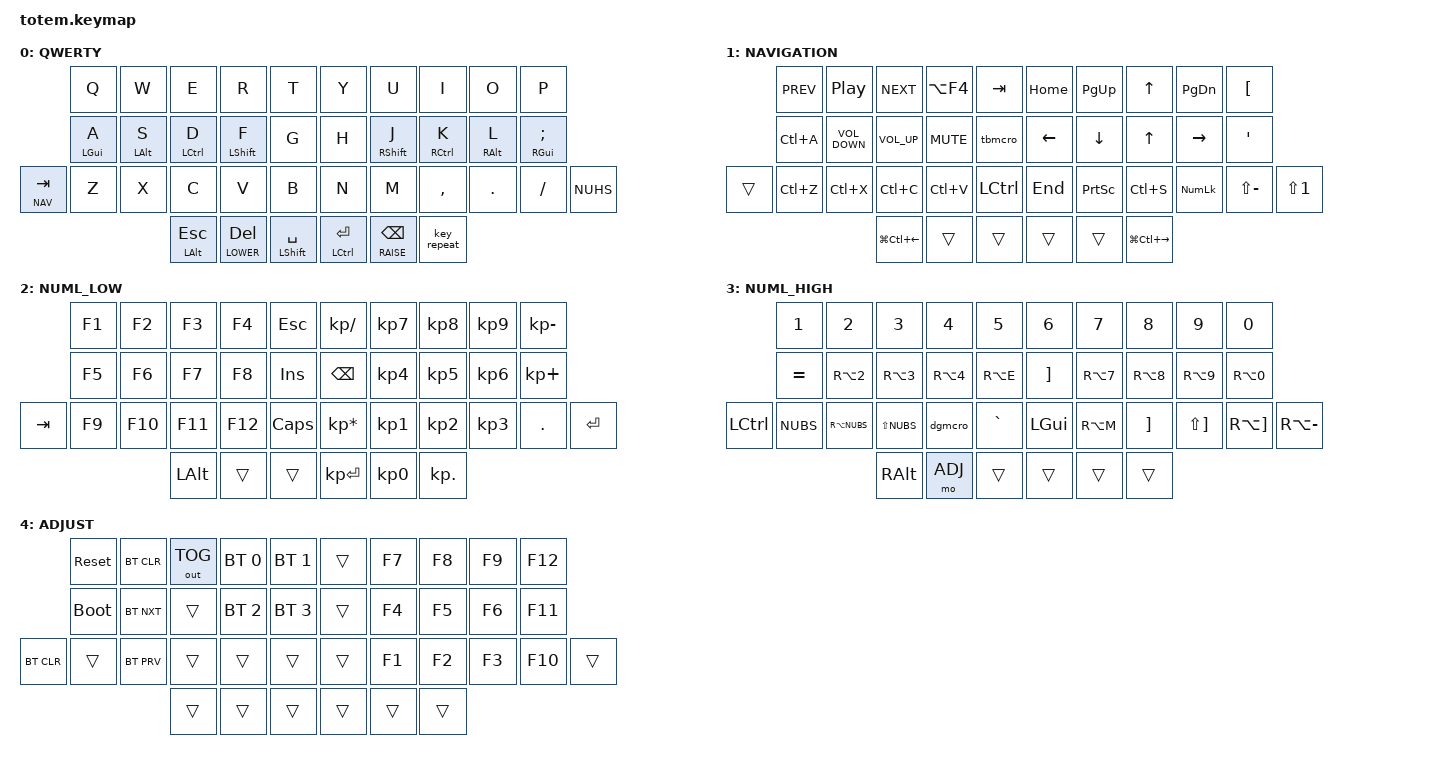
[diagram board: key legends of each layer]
//
//                                                        ▀▀▀▀▀     ▀▀▀▀▀          ▀▀█▀▀
//                                                        ▄▀▀▀▄  ▄  ▄▀▀▀▄  ▄  ▄▀▀▀▄  █  ▄▀▀▀▄
//                                                        █   █  █  █   █  █  █   █  █  █   █
//                                                         ▀▀▀   █   ▀▀▀   █   ▀▀▀   ▀   ▀▀▀
//                                                               █      ▄▄▄█▄▄▄    █   █  
//                                                               ▀      █  █  █     █▄█
//                                                             ▀▀▀▀▀    █  █  █      ▀
//                                                                      ▀  ▀  ▀
//
// ▄▄▄▄▄▄▄▄▄▄▄▄▄▄▄▄▄▄▄▄▄▄▄▄▄▄▄▄▄▄▄▄▄▄▄▄▄▄▄▄▄▄▄▄▄▄▄▄▄▄▄▄▄▄▄▄▄▄▄▄▄▄▄▄▄▄▄▄▄▄▄▄▄▄▄▄▄▄▄▄▄▄▄▄▄▄▄▄▄▄▄▄▄▄▄▄▄▄▄▄▄▄▄▄▄▄▄▄▄▄▄▄▄▄▄▄▄▄▄▄▄▄▄▄▄▄▄▄▄▄▄▄▄▄▄▄▄▄▄▄▄▄▄▄▄▄▄▄▄
       

#include <behaviors.dtsi>
#include <dt-bindings/zmk/keys.h>
#include <dt-bindings/zmk/bt.h>
#include <dt-bindings/zmk/outputs.h>

#define BASE  0     
#define NAV   1    
#define LOWER 2    
#define RAISE 3    
#define ADJ   4    

&mt {
  quick-tap-ms = <150>;
  global-quick-tap;
  flavor = "tap-preferred";
  tapping-term-ms = <200>;
  require-prior-idle-ms = <200>;
};

&lt {
  quick-tap-ms = <150>;
  global-quick-tap;
  flavor = "tap-preferred";
  tapping-term-ms = <200>;
};

/ {
    combos {
            compatible = "zmk,combos";
            combo_capsw {
                timeout-ms = <50>;
                key-positions = <20 31>;
                bindings = <&caps_word>;
            };
    };

    macros {
        gif: gif {
            label = "giphy";
            compatible = "zmk,behavior-macro";
            #binding-cells = <0>;
            bindings
                = <&macro_press &kp LSHFT>
                , <&macro_tap &kp N2>
                , <&macro_release &kp LSHFT>
                , <&macro_tap &kp G &kp I &kp F>
                ;
        };

        tbmcro: tbmcro {
            compatible = "zmk,behavior-macro";
            #binding-cells = <0>;
            bindings = <&kp TAB &kp LS(HOME) &kp DEL>;
            label = "TBMCRO";
        };

        dgmcro: dgmcro {
            compatible = "zmk,behavior-macro";
            #binding-cells = <0>;
            bindings = <&kt LALT &kp KP_N0 &kp KP_N1 &kp KP_N7 &kp KP_N6 &kt LALT>;
            label = "DGMCRO";
        };
    };

        keymap {
                compatible = "zmk,keymap";
// ▄▄▄▄▄▄▄▄▄▄▄▄▄▄▄▄▄▄▄▄▄▄▄▄▄▄▄▄▄▄▄▄▄▄▄▄▄▄▄▄▄▄▄▄▄▄▄▄▄▄▄▄▄▄▄▄▄▄▄▄▄▄▄▄▄▄▄▄▄▄▄▄▄▄▄▄▄▄▄▄▄▄▄▄▄▄▄▄▄▄▄▄▄▄▄▄▄▄▄▄▄▄▄▄▄▄▄▄▄▄▄▄▄▄▄▄▄▄▄▄▄▄▄▄▄▄▄▄▄▄▄▄▄▄▄▄▄▄▄▄▄▄▄▄▄▄▄▄▄

                base_layer {
// ┏━━━━━━━━━━━━━━━━━━━━━━━━━━━━━━━━━━━━━━━┓
            display-name = "QWERTY";
// ┗━━━━━━━━━━━━━━━━━━━━━━━━━━━━━━━━━━━━━━━┛
 /*
   ┌─────────────────────────────────────────────────┐
   │ q w e r t y                                     │      ╭╮╭╮╭╮╭╮
   └─────────────────────────────────────────────────┘      │╰╯╰╯╰╯│
             ┌─────────┬─────────┬─────────┬─────────┬──────╨──┐┌──╨──────┬─────────┬─────────┬─────────┬─────────┐
     ╌┄┈┈───═╡    Q    │    W    │    E    │    R    │    T    ││    Y    │    U    │    I    │    O    │    P    │   
             ├─────────┼─────────┼─────────┼─────────┼─────────┤├─────────┼─────────┼─────────┼─────────┼─────────┤ 
             │    A    │    S    │    D    │    F    │    G    ││    H    │    J    │    K    │    L    │    ;    │    
   ┌─────────┼─────────┼─────────┼─────────┼─────────┼─────────┤├─────────┼─────────┼─────────┼─────────┼─────────┼─────────┐
   │  _FNL1  │    Z    │    X    │    C    │    V    │    B    ││    N    │    M    │    ,    │    .    │    /    │    *    │
   └─────────┴─────────┴─────────┼─────────┼─────────┼─────────┤├─────────┼─────────┼─────────┼─────────┴─────────┴─────────┘
                                 │ESC/L_ALT│LOWER/DEL│ SPC/SFT ││ ENT/CTL │BSP/RAISE│   RPT   │  
                                 └─────────┴─────────┴─────────┘└─────────┴─────────┴─────────┘*/ 
 bindings = <
// ╷           ╷           ╷           ╷           ╷           ╷           ╷   ╷           ╷           ╷           ╷           ╷           ╷           ╷

                &kp Q       &kp W       &kp E       &kp R       &kp T           &kp Y       &kp U       &kp I       &kp O       &kp P
                &mt LGUI A  &mt LALT S  &mt LCTRL D &mt LSHFT F &kp G           &kp H       &mt RSHFT J &mt RCTRL K &mt RALT L  &mt RGUI SEMI
    &lt NAV TAB    &kp Z       &kp X       &kp C       &kp V       &kp B           &kp N       &kp M       &kp COMMA   &kp DOT     &kp FSLH    &kp NUHS
                                      &mt LALT ESC &lt LOWER DELETE &mt LSHFT SPACE &mt LCTRL ENTER &lt RAISE BSPC &key_repeat 
                        >;
                };
// ▄▄▄▄▄▄▄▄▄▄▄▄▄▄▄▄▄▄▄▄▄▄▄▄▄▄▄▄▄▄▄▄▄▄▄▄▄▄▄▄▄▄▄▄▄▄▄▄▄▄▄▄▄▄▄▄▄▄▄▄▄▄▄▄▄▄▄▄▄▄▄▄▄▄▄▄▄▄▄▄▄▄▄▄▄▄▄▄▄▄▄▄▄▄▄▄▄▄▄▄▄▄▄▄▄▄▄▄▄▄▄▄▄▄▄▄▄▄▄▄▄▄▄▄▄▄▄▄▄▄▄▄▄▄▄▄▄▄▄▄▄▄▄▄▄▄▄▄▄


                nav_layer {
// ┏━━━━━━━━━━━━━━━━━━━━━━━━━━━━━━━━━━━━━━━┓
            display-name = "NAVIGATION";
// ┗━━━━━━━━━━━━━━━━━━━━━━━━━━━━━━━━━━━━━━━┛
/*
   ┌─────────────────────────────────────────────────┐
   │ f u n c / n a v                                 │      ╭╮╭╮╭╮╭╮
   └─────────────────────────────────────────────────┘      │╰╯╰╯╰╯│
             ┌─────────┬─────────┬─────────┬─────────┬──────╨──┐┌──╨──────┬─────────┬─────────┬─────────┬─────────┐
     ╌┄┈┈───═╡  PREV   │  PLAY   │  NEXT   │  AltF4  │   TAB   ││   ESC   │   PG↑   │    ↑    │   PG↓   │    Å    │   
             ├─────────┼─────────┼─────────┼─────────┼─────────┤├─────────┼─────────┼─────────┼─────────┼─────────┤
             │  SHIFT  │  VolU   │  VolD   │  Mute   │ TABMCRO ││  HOME   │    ←    │    ↓    │    →    │    Ä    │    
   ┌─────────┼─────────┼─────────┼─────────┼─────────┼─────────┤├─────────┼─────────┼─────────┼─────────┼─────────┼─────────┐
   │         │  UNDO   │   CUT   │  COPY   │  PASTE  │  LGUI   ││   END   │ SCRNSHT │  SAVE   │  NUML   │    ?    │    !    │ 
   └─────────┴─────────┴─────────┼─────────┼─────────┼─────────┤├─────────┼─────────┼─────────┼─────────┴─────────┴─────────┘
                                 │         │  LCTRL  │         ││         │  LALT   │  BSPC   │
                                 └─────────┴─────────┴─────────┘└─────────┴─────────┴─────────┘ */
 bindings = <
// ╷           ╷           ╷           ╷           ╷           ╷           ╷   ╷           ╷           ╷           ╷           ╷           ╷           ╷

        &kp C_PREV  &kp C_PLAY_PAUSE   &kp C_NEXT        &kp LA(F4)  &kp TAB      &kp HOME  &kp PG_UP        &kp UP             &kp PG_DN  &kp LBKT
        &kp LC(A)   &kp C_VOLUME_DOWN  &kp C_VOL_UP      &kp C_MUTE  &tbmcro      &kp LEFT  &kp DOWN   &kp UP           &kp RIGHT  &kp SINGLE_QUOTE
&trans  &kp LC(Z)   &kp LC(X)          &kp LC(C)         &kp LC(V)   &kp LCTRL    &kp END       &kp PRINTSCREEN  &kp LC(S)          &kp KP_NUMLOCK &kp LS(MINUS) &kp LS(N1)
                                       &kp LG(LC(LEFT))  &trans      &trans       &trans        &trans           &kp LG(LC(RIGHT))
                        >;
                };

// ▄▄▄▄▄▄▄▄▄▄▄▄▄▄▄▄▄▄▄▄▄▄▄▄▄▄▄▄▄▄▄▄▄▄▄▄▄▄▄▄▄▄▄▄▄▄▄▄▄▄▄▄▄▄▄▄▄▄▄▄▄▄▄▄▄▄▄▄▄▄▄▄▄▄▄▄▄▄▄▄▄▄▄▄▄▄▄▄▄▄▄▄▄▄▄▄▄▄▄▄▄▄▄▄▄▄▄▄▄▄▄▄▄▄▄▄▄▄▄▄▄▄▄▄▄▄▄▄▄▄▄▄▄▄▄▄▄▄▄▄▄▄▄▄▄▄▄▄▄


                lower_layer {
// ┏━━━━━━━━━━━━━━━━━━━━━━━━━━━━━━━━━━━━━━━┓
            display-name = "NUML_LOW";
// ┗━━━━━━━━━━━━━━━━━━━━━━━━━━━━━━━━━━━━━━━┛
/*  
   ┌─────────────────────────────────────────────────┐
   │ l o w e r                                       │      ╭╮╭╮╭╮╭╮
   └─────────────────────────────────────────────────┘      │╰╯╰╯╰╯│
             ┌─────────┬─────────┬─────────┬─────────┬──────╨──┐┌──╨──────┬─────────┬─────────┬─────────┬─────────┐
     ╌┄┈┈───═╡   F1    │   F2    │   F3    │   F4    │   ESC   ││    /    │    7    │    8    │    9    │    -    │   
             ├─────────┼─────────┼─────────┼─────────┼─────────┤├─────────┼─────────┼─────────┼─────────┼─────────┤
             │   F5    │   F6    │   F7    │   F8    │   INS   ││  BSPC   │    4    │    5    │    6    │    +    │    
   ┌─────────┼─────────┼─────────┼─────────┼─────────┼─────────┤├─────────┼─────────┼─────────┼─────────┼─────────┼─────────┐
   │   TAB   │   F9    │   F10   │   F11   │   F12   │  CapsL  ││    *    │    1    │    2    │    3    │    .    │  ENTER  │
   └─────────┴─────────┴─────────┼─────────┼─────────┼─────────┤├─────────┼─────────┼─────────┼─────────┴─────────┴─────────┘
                                 │   LALT  │    ▼    │    ▼    ││  ENTER  │    0    │    ,    │  
                                 └─────────┴─────────┴─────────┘└─────────┴─────────┴─────────┘ */ 
 bindings = <
// ╷           ╷           ╷           ╷           ╷           ╷           ╷   ╷           ╷           ╷           ╷           ╷           ╷           ╷

        &kp F1     &kp F2      &kp F3    &kp F4     &kp ESC    &kp KP_SLASH &kp KP_N7  &kp KP_N8  &kp KP_N9  &kp KP_MINUS
        &kp F5     &kp F6      &kp F7    &kp F8     &kp INS    &kp BSPC  &kp KP_N4  &kp KP_N5  &kp KP_N6  &kp KP_PLUS
&kp TAB &kp F9     &kp F10     &kp F11   &kp F12    &kp CAPS   &kp KP_MULTIPLY  &kp KP_N1  &kp KP_N2  &kp KP_N3  &kp DOT  &kp ENTER
                               &kp LALT    &trans     &trans      &kp KP_ENTER  &kp KP_N0  &kp KP_DOT   
                        >;
                };

// ▄▄▄▄▄▄▄▄▄▄▄▄▄▄▄▄▄▄▄▄▄▄▄▄▄▄▄▄▄▄▄▄▄▄▄▄▄▄▄▄▄▄▄▄▄▄▄▄▄▄▄▄▄▄▄▄▄▄▄▄▄▄▄▄▄▄▄▄▄▄▄▄▄▄▄▄▄▄▄▄▄▄▄▄▄▄▄▄▄▄▄▄▄▄▄▄▄▄▄▄▄▄▄▄▄▄▄▄▄▄▄▄▄▄▄▄▄▄▄▄▄▄▄▄▄▄▄▄▄▄▄▄▄▄▄▄▄▄▄▄▄▄▄▄▄▄▄▄▄

                raise_layer {
// ┏━━━━━━━━━━━━━━━━━━━━━━━━━━━━━━━━━━━━━━━┓
            display-name = "NUML_HIGH";
// ┗━━━━━━━━━━━━━━━━━━━━━━━━━━━━━━━━━━━━━━━┛
/*   
   ┌─────────────────────────────────────────────────┐
   │ r a i s e                                       │      ╭╮╭╮╭╮╭╮
   └─────────────────────────────────────────────────┘      │╰╯╰╯╰╯│
             ┌─────────┬─────────┬─────────┬─────────┬──────╨──┐┌──╨──────┬─────────┬─────────┬─────────┬─────────┐
     ╌┄┈┈───═╡    1    │    2    │    3    │    4    │    5    ││    6    │    7    │    8    │    9    │    0    │   
             ├─────────┼─────────┼─────────┼─────────┼─────────┤├─────────┼─────────┼─────────┼─────────┼─────────┤
             │    ´    │    @    │    £    │    $    │    €    ││    ¨    │    {    │    [    │    ]    │    }    │
   ┌─────────┼─────────┼─────────┼─────────┼─────────┼─────────┤├─────────┼─────────┼─────────┼─────────┼─────────┼─────────┐
   │ Control │    <    │    |    │    >    │    °    │    §    ││   WIN   │    µ    │    ¨    │    ^    │    ~    │    \    │
   └─────────┴─────────┴─────────┼─────────┼─────────┼─────────┤├─────────┼─────────┼─────────┼─────────┴─────────┴─────────┘
                                 │  AltGr  │ ADJUST  │Spac/Shft││    ▼    │    ▼    │    ▼    │  
                                 └─────────┴─────────┴─────────┘└─────────┴─────────┴─────────┘ */ 
 bindings = <
// ╷           ╷           ╷           ╷           ╷           ╷           ╷   ╷           ╷           ╷           ╷           ╷           ╷           ╷

                &kp N1     &kp N2       &kp N3      &kp N4      &kp N5          &kp N6      &kp N7      &kp N8      &kp N9        &kp N0
                &kp EQUAL &kp RA(N2)    &kp RA(N3)    &kp RA(N4)   &kp RA(E)        &kp RBKT  &kp RA(N7) &kp RA(N8) &kp RA(N9)   &kp RA(N0)
      &kp LCTRL &kp NUBS  &kp RA(NUBS) &kp LS(NUBS)  &dgmcro      &kp GRAVE        &kp LGUI  &kp RA(M) &kp RBKT  &kp LS(RBKT) &kp RA(RBKT) &kp RA(MINUS)
                                       &kp RALT     &mo ADJ     &trans           &trans    &trans    &trans
                        >;
                };
// ▄▄▄▄▄▄▄▄▄▄▄▄▄▄▄▄▄▄▄▄▄▄▄▄▄▄▄▄▄▄▄▄▄▄▄▄▄▄▄▄▄▄▄▄▄▄▄▄▄▄▄▄▄▄▄▄▄▄▄▄▄▄▄▄▄▄▄▄▄▄▄▄▄▄▄▄▄▄▄▄▄▄▄▄▄▄▄▄▄▄▄▄▄▄▄▄▄▄▄▄▄▄▄▄▄▄▄▄▄▄▄▄▄▄▄▄▄▄▄▄▄▄▄▄▄▄▄▄▄▄▄▄▄▄▄▄▄▄▄▄▄▄▄▄▄▄▄▄▄


                adjust_layer {
// ┏━━━━━━━━━━━━━━━━━━━━━━━━━━━━━━━━━━━━━━━┓
            display-name = "ADJUST";
// ┗━━━━━━━━━━━━━━━━━━━━━━━━━━━━━━━━━━━━━━━┛
/*   
   ┌─────────────────────────────────────────────────┐
   │ a d j u s t                                     │      ╭╮╭╮╭╮╭╮
   └─────────────────────────────────────────────────┘      │╰╯╰╯╰╯│
             ┌─────────┬─────────┬─────────┬─────────┬──────╨──┐┌──╨──────┬─────────┬─────────┬─────────┬─────────┐
     ╌┄┈┈───═╡  GAME   │         │         │         │  RESET  ││         │   F7    │   F8    │   F9    │   F12   │   
             ├─────────┼─────────┼─────────┼─────────┼─────────┤├─────────┼─────────┼─────────┼─────────┼─────────┤
             │ DEBUG   │ QWERTY  │         │         │         ││         │   F4    │   F5    │   F6    │   F11   │   
   ┌─────────┼─────────┼─────────┼─────────┼─────────┼─────────┤├─────────┼─────────┼─────────┼─────────┼─────────┼─────────┐
   │  MAKE   │ OS SWAP │ COLEMAK │         │         │         ││         │   F1    │   F2    │   F3    │   F10   │   F13   │
   └─────────┴─────────┴─────────┼─────────┼─────────┼─────────┤├─────────┼─────────┼─────────┼─────────┴─────────┴─────────┘
                                 │    ▼    │    ▼    │    ▼    ││    ▼    │    ▼    │    ▼    │  
                                 └─────────┴─────────┴─────────┘└─────────┴─────────┴─────────┘ */ 
 bindings = <
// ╷           ╷           ╷           ╷           ╷           ╷           ╷   ╷           ╷           ╷           ╷           ╷           ╷           ╷

                &sys_reset  &bt BT_CLR &out OUT_TOG &bt BT_SEL 0 &bt BT_SEL 1 &trans      &kp F7      &kp F8      &kp F9      &kp F12
                &bootloader &bt BT_NXT  &trans      &bt BT_SEL 2 &bt BT_SEL 3 &trans      &kp F4      &kp F5      &kp F6      &kp F11  
    &bt BT_CLR  &trans      &bt BT_PRV  &trans      &trans &trans &trans      &kp F1      &kp F2      &kp F3      &kp F10     &trans         
                                        &trans      &trans &trans &trans      &trans      &trans      
                        >;
                };
        };
};
